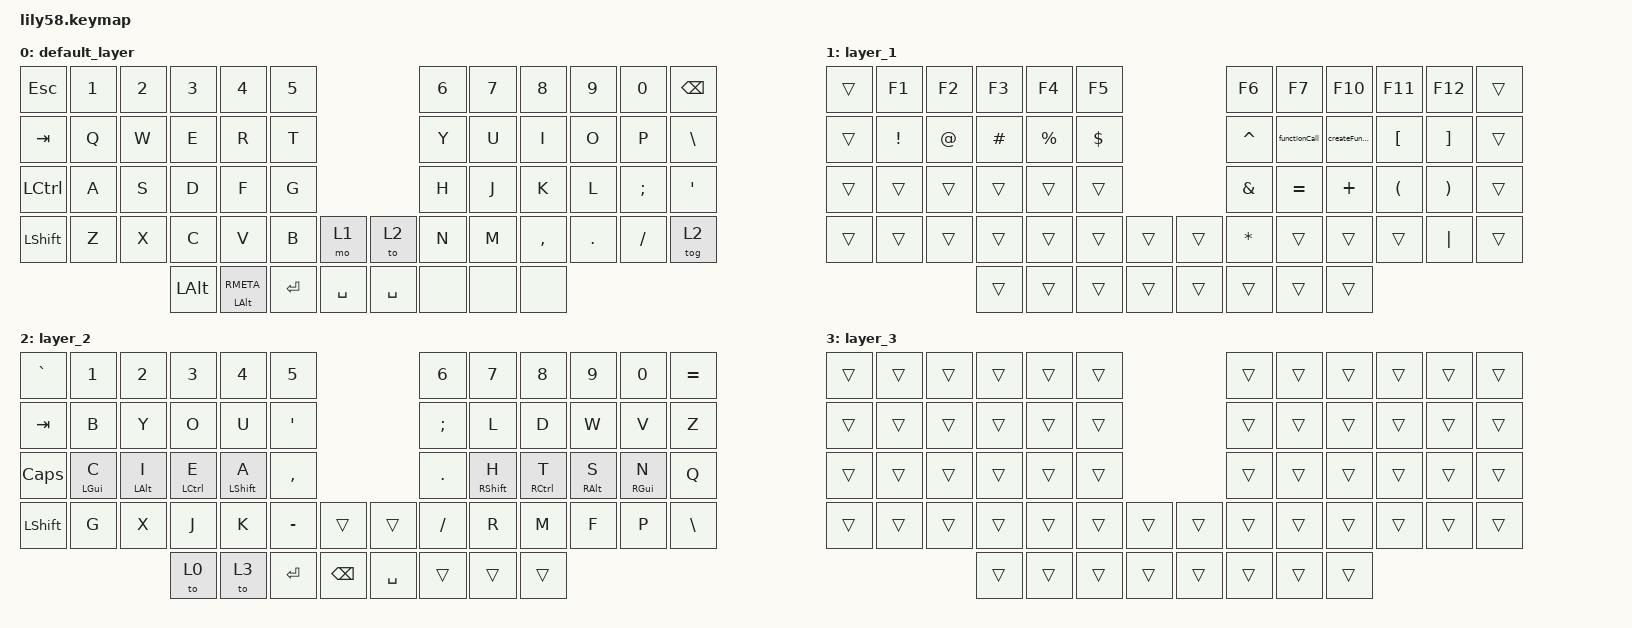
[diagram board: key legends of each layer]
/*
 * Copyright (c) 2020 The ZMK Contributors
 *
 * SPDX-License-Identifier: MIT
 */

#include <behaviors.dtsi>
#include <dt-bindings/zmk/keys.h>

#define RIGHT_HAND_KEYS 6 7 8 9 10 11 18 19 20 21 22 23 30 31 32 33 34 35 42 43 44   // Right side keys
#define LEFT_HAND_KEYS 0 1 2 3 4 5 12 13 14 15 16 17 24 25 26 27 28 29 36 37 38      // Left side keys

/ {
    behaviors {
        hm: homerow_mods {
            compatible = "zmk,behavior-hold-tap";
            label = "HOMEROW_MODS";
            #binding-cells = <2>;
            bindings = <&kp &kp>;
            flavor = "tap-preferred";
            tapping-term-ms = <270>;
            quick-tap-ms = <300>;
            require-prior-idle-ms = <230>;
            hold-trigger-key-positions = <RIGHT_HAND_KEYS>;
            hold-trigger-on-release;
        };
    
        hm_shift: homerow_mods_shift {
            compatible = "zmk,behavior-hold-tap";
            label = "HOMEROW_MODS_SHIFT";
            #binding-cells = <2>;
            bindings = <&kp &kp>;
            flavor = "tap-preferred";
            tapping-term-ms = <270>;
            quick-tap-ms = <300>;
            require-prior-idle-ms = <230>;
            hold-trigger-key-positions = <RIGHT_HAND_KEYS>;
            hold-trigger-on-release;
        };
    };

    macros {
        functionCall: functionCall {
            compatible = "zmk,behavior-macro";
            #binding-cells = <0>;
            bindings = <&none &kp LPAR &kp RPAR &kp SEMI>;
            label = "FUNCTIONCALL";
        };

        createFunction: createFunction {
            compatible = "zmk,behavior-macro";
            #binding-cells = <0>;
            bindings = <&none &kp LPAR &kp RPAR &kp RET &kp RBKT &kp RET &kp RBRC>;
            label = "CREATEFUNCTION";
        };
    };

    keymap {
        compatible = "zmk,keymap";

        default_layer {
            // ------------------------------------------------------------------------------------------------------------
            // |  ESC  |  1  |  2  |  3   |  4   |  5   |                   |  6   |  7    |  8    |  9   |   0   | BSPC  |
            // |  TAB  |  Q  |  W  |  E   |  R   |  T   |                   |  Y   |  U    |  I    |  O   |   P   |   \   |
            // |  CTRL |  A  |  S  |  D   |  F   |  G   |                   |  H   |  J    |  K    |  L   |   ;   |   '   |
            // | SHIFT |  Z  |  X  |  C   |  V   |  B   |   "["  |  |  "]"  |  N   |  M    |  ,    |  .   |   /   | SHIFT |
            //                     | GUI  | LALT | SPC  | LOWER  |  | RAISE |ENTER | RAISE | GUI   |

            bindings = <
&kp ESC    &kp N1  &kp N2  &kp N3        &kp N4              &kp N5                           &kp N6  &kp N7  &kp N8     &kp N9   &kp N0    &kp BSPC
&kp TAB    &kp Q   &kp W   &kp E         &kp R               &kp T                            &kp Y   &kp U   &kp I      &kp O    &kp P     &kp BSLH
&kp LCTRL  &kp A   &kp S   &kp D         &kp F               &kp G                            &kp H   &kp J   &kp K      &kp L    &kp SEMI  &kp SQT
&kp LSHFT  &kp Z   &kp X   &kp C         &kp V               &kp B    &mo 1        &to 2      &kp N   &kp M   &kp COMMA  &kp DOT  &kp FSLH  &tog 2
                           &kp LEFT_ALT  &mt LEFT_ALT RMETA  &kp RET  &kp SPACE    &kp SPACE  &none   &none   &none
            >;
        };

        //         lower_layer {
        // // ------------------------------------------------------------------------------------------------------------
        // // | BTCLR | BT1 | BT2 |  BT3 |  BT4 |  BT5 |                   |      |       |       |      |       |       |
        // // |  F1   |  F2 |  F3 |  F4  |  F5  |  F6  |                   |  F7  |  F8   |  F9   |  F10 |  F11  |  F12  |
        // // |   `   |  !  |  @  |  #   |  $   |  %   |                   |  ^   |  &    |  *    |  (   |   )   |   ~   |
        // // |       |     |     |      |      |      |        |  |       |      |  _    |  +    |  {   |   }   |  "|"  |
        // //                     |      |      |      |        |  |       |      |       |       |
        //             bindings = <
        // &bt BT_CLR &bt BT_SEL 0     &bt BT_SEL 1      &bt BT_SEL 2      &bt BT_SEL 3 &bt BT_SEL 4                 &trans    &trans    &trans          &trans    &trans    &trans
        // &kp F1     &kp F2           &kp F3            &kp F4            &kp F5       &kp F6                       &kp F7    &kp F8    &kp F9          &kp F10   &kp F11   &kp F12
        // &kp GRAVE  &kp EXCL         &kp AT            &kp HASH          &kp DOLLAR   &kp PRCNT                    &kp CARET &kp AMPS  &kp KP_MULTIPLY &kp LPAR  &kp RPAR  &kp TILDE
        // &trans     &ext_power EP_ON &ext_power EP_OFF &ext_power EP_TOG &trans       &trans    &trans   &trans    &trans    &kp MINUS &kp KP_PLUS     &kp LBRC  &kp RBRC  &kp PIPE
        //                                               &trans            &trans       &trans    &trans   &trans    &trans    &trans    &trans
        //             >;
        //             sensor-bindings = <&inc_dec_kp C_VOL_UP C_VOL_DN>;
        //         };

        layer_1 {
            bindings = <
&trans  &kp F1    &kp F2       &kp F3    &kp F4       &kp F5                        &kp F6         &kp F7         &kp F10          &kp F11               &kp F12                &trans
&trans  &kp EXCL  &kp AT_SIGN  &kp HASH  &kp PERCENT  &kp DOLLAR                    &kp CARET      &functionCall  &createFunction  &kp LEFT_BRACKET      &kp RIGHT_BRACKET      &trans
&trans  &trans    &trans       &trans    &trans       &trans                        &kp AMPERSAND  &kp EQUAL      &kp PLUS         &kp LEFT_PARENTHESIS  &kp RIGHT_PARENTHESIS  &trans
&trans  &trans    &trans       &trans    &trans       &trans      &trans    &trans  &kp ASTERISK   &trans         &trans           &trans                &kp PIPE               &trans
                               &trans    &trans       &trans      &trans    &trans  &trans         &trans         &trans
            >;
        };

layer_2 {
            bindings = <
&kp GRAVE  &kp N1         &kp N2        &kp N3         &kp N4                &kp N5                            &kp N6    &kp N7                   &kp N8         &kp N9            &kp N0        &kp EQUAL
&kp TAB    &kp B          &kp Y         &kp O          &kp U                 &kp SQT                           &kp SEMI  &kp L                    &kp D          &kp W             &kp V         &kp Z
&kp CAPS   &hm LEFT_GUI C &hm LALT I    &hm LCTRL E    &hm_shift LSHIFT A   &kp COMMA                         &kp DOT   &hm_shift RIGHT_SHIFT H  &hm RCTRL T    &hm RIGHT_ALT S   &hm RGUI N    &kp Q
&kp LSHFT  &kp G          &kp X         &kp J          &kp K                &kp MINUS  &trans      &trans     &kp FSLH  &kp R                    &kp M          &kp F             &kp P         &kp BACKSLASH
                                        &to 0          &to 3                &kp ENTER  &kp BSPC    &kp SPACE  &trans    &trans                  &trans
            >;
        };

        layer_3 {
            bindings = <
&trans  &trans  &trans  &trans  &trans  &trans                    &trans  &trans  &trans  &trans  &trans  &trans
&trans  &trans  &trans  &trans  &trans  &trans                    &trans  &trans  &trans  &trans  &trans  &trans
&trans  &trans  &trans  &trans  &trans  &trans                    &trans  &trans  &trans  &trans  &trans  &trans
&trans  &trans  &trans  &trans  &trans  &trans  &trans    &trans  &trans  &trans  &trans  &trans  &trans  &trans
                        &trans  &trans  &trans  &trans    &trans  &trans  &trans  &trans
            >;
        };
    };
};
